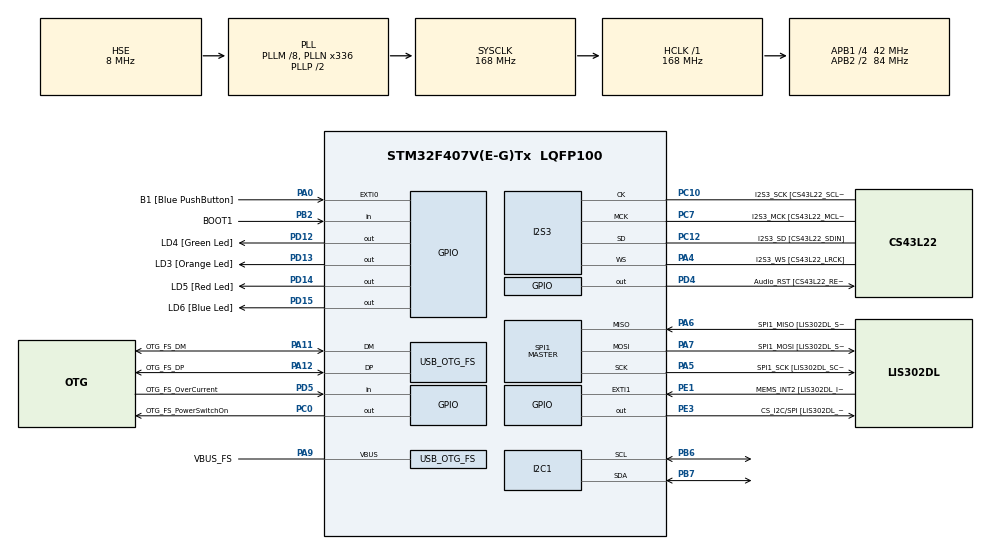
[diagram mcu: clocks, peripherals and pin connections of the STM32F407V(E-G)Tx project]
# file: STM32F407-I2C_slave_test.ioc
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I2C1.I2C_Mode=I2C_Standard
I2C1.NoStretchMode=I2C_NOSTRETCH_DISABLE
I2C1.OwnAddress=0x20
I2S3.AudioFreq-Half_Duplex_Master=I2S_AUDIOFREQ_96K
I2S3.ErrorAudioFreq=-2.34 %
I2S3.ErrorAudioFreq-Half_Duplex_Master=0.8 %
I2S3.FullDuplexMode=I2S_FULLDUPLEXMODE_DISABLE
I2S3.Instance=SPI$Index
I2S3.RealAudioFreq=93.75 KHz
I2S3.RealAudioFreq-Half_Duplex_Master=96.774 KHz
I2S3.VirtualMode=I2S_MODE_MASTER
Mcu.Family=STM32F4
Mcu.Name=STM32F407V(E-G)Tx
Mcu.Package=LQFP100
NVIC.I2C1_ER_IRQn=true\:0\:0\:false\:false\:true\:true\:true
NVIC.I2C1_EV_IRQn=true\:0\:0\:false\:false\:true\:true\:true
NVIC.OTG_FS_IRQn=true\:0\:0\:false\:false\:true\:true\:true
NVIC.PriorityGroup=NVIC_PRIORITYGROUP_0
PA0-WKUP.GPIO_Label=B1 [Blue PushButton]
PA0-WKUP.GPIO_ModeDefaultEXTI=GPIO_MODE_EVT_RISING
PA0-WKUP.GPIO_PuPd=GPIO_NOPULL
PA0-WKUP.Signal=GPXTI0
PA10.GPIO_Label=OTG_FS_ID
PA10.GPIO_Mode=GPIO_MODE_AF_PP
PA10.GPIO_PuPd=GPIO_NOPULL
PA10.GPIO_Speed=GPIO_SPEED_FREQ_LOW
PA10.Signal=USB_OTG_FS_ID
PA11.GPIO_Label=OTG_FS_DM
PA11.GPIO_Mode=GPIO_MODE_AF_PP
PA11.GPIO_PuPd=GPIO_NOPULL
PA11.GPIO_Speed=GPIO_SPEED_FREQ_LOW
PA11.Mode=Host_Only
PA11.Signal=USB_OTG_FS_DM
PA12.GPIO_Label=OTG_FS_DP
PA12.GPIO_Mode=GPIO_MODE_AF_PP
PA12.GPIO_PuPd=GPIO_NOPULL
PA12.GPIO_Speed=GPIO_SPEED_FREQ_LOW
PA12.Mode=Host_Only
PA12.Signal=USB_OTG_FS_DP
PA13.GPIO_Label=SWDIO
PA13.Mode=Serial_Wire
PA13.Signal=SYS_JTMS-SWDIO
PA14.GPIO_Label=SWCLK
PA14.Mode=Serial_Wire
PA14.Signal=SYS_JTCK-SWCLK
PA4.GPIO_Label=I2S3_WS [CS43L22_LRCK]
PA4.GPIO_Mode=GPIO_MODE_AF_PP
PA4.GPIO_PuPd=GPIO_NOPULL
PA4.GPIO_Speed=GPIO_SPEED_FREQ_LOW
PA4.Mode=Half_Duplex_Master
PA4.Signal=I2S3_WS
PA5.GPIO_Label=SPI1_SCK [LIS302DL_SCL/SPC]
PA5.GPIO_Mode=GPIO_MODE_AF_PP
PA5.GPIO_PuPd=GPIO_NOPULL
PA5.GPIO_Speed=GPIO_SPEED_FREQ_LOW
PA5.Mode=Full_Duplex_Master
PA5.Signal=SPI1_SCK
PA6.GPIO_Label=SPI1_MISO [LIS302DL_SDO]
PA6.GPIO_Mode=GPIO_MODE_AF_PP
PA6.GPIO_PuPd=GPIO_NOPULL
PA6.GPIO_Speed=GPIO_SPEED_FREQ_LOW
PA6.Mode=Full_Duplex_Master
PA6.Signal=SPI1_MISO
PA7.GPIO_Label=SPI1_MOSI [LIS302DL_SDA/SDI/SDO]
PA7.GPIO_Mode=GPIO_MODE_AF_PP
PA7.GPIO_PuPd=GPIO_NOPULL
PA7.GPIO_Speed=GPIO_SPEED_FREQ_LOW
PA7.Mode=Full_Duplex_Master
PA7.Signal=SPI1_MOSI
PA9.GPIO_Label=VBUS_FS
PA9.GPIO_Mode=GPIO_MODE_INPUT
PA9.GPIO_PuPd=GPIO_NOPULL
PA9.Mode=Activate_VBUS
PA9.Signal=USB_OTG_FS_VBUS
PB10.GPIO_Label=CLK_IN [MP45DT02_CLK]
PB10.GPIO_Mode=GPIO_MODE_AF_PP
PB10.GPIO_PuPd=GPIO_NOPULL
PB10.GPIO_Speed=GPIO_SPEED_FREQ_LOW
PB10.Signal=I2S2_CK
PB2.GPIO_Label=BOOT1
PB2.GPIO_Mode=GPIO_MODE_INPUT
PB2.GPIO_PuPd=GPIO_NOPULL
PB2.Signal=GPIO_Input
PB3.GPIO_Label=SWO
PB3.Signal=SYS_JTDO-SWO
PB6.Mode=I2C
PB6.Signal=I2C1_SCL
PB7.Mode=I2C
PB7.Signal=I2C1_SDA
PC0.GPIO_Label=OTG_FS_PowerSwitchOn
PC0.GPIO_PuPd=GPIO_NOPULL
PC0.GPIO_Speed=GPIO_SPEED_FREQ_LOW
PC0.PinState=GPIO_PIN_SET
PC0.Signal=GPIO_Output
PC10.GPIO_Label=I2S3_SCK [CS43L22_SCLK]
PC10.GPIO_Mode=GPIO_MODE_AF_PP
PC10.GPIO_PuPd=GPIO_NOPULL
PC10.GPIO_Speed=GPIO_SPEED_FREQ_LOW
PC10.Mode=Half_Duplex_Master
PC10.Signal=I2S3_CK
PC12.GPIO_Label=I2S3_SD [CS43L22_SDIN]
PC12.GPIO_Mode=GPIO_MODE_AF_PP
PC12.GPIO_PuPd=GPIO_NOPULL
PC12.GPIO_Speed=GPIO_SPEED_FREQ_LOW
PC12.Mode=Half_Duplex_Master
PC12.Signal=I2S3_SD
PC14-OSC32_IN.GPIO_Label=PC14-OSC32_IN
PC14-OSC32_IN.Mode=LSE-External-Oscillator
PC14-OSC32_IN.Signal=RCC_OSC32_IN
PC15-OSC32_OUT.GPIO_Label=PC15-OSC32_OUT
PC15-OSC32_OUT.Mode=LSE-External-Oscillator
PC15-OSC32_OUT.Signal=RCC_OSC32_OUT
PC3.GPIO_Label=PDM_OUT [MP45DT02_DOUT]
PC3.GPIO_Mode=GPIO_MODE_AF_PP
PC3.GPIO_PuPd=GPIO_NOPULL
PC3.GPIO_Speed=GPIO_SPEED_FREQ_LOW
PC3.Signal=I2S2_SD
PC7.GPIO_Label=I2S3_MCK [CS43L22_MCLK]
PC7.GPIO_Mode=GPIO_MODE_AF_PP
PC7.GPIO_PuPd=GPIO_NOPULL
PC7.GPIO_Speed=GPIO_SPEED_FREQ_LOW
PC7.Mode=Master_Clock_Activated
PC7.Signal=I2S3_MCK
PD12.GPIO_Label=LD4 [Green Led]
PD12.GPIO_PuPd=GPIO_NOPULL
PD12.GPIO_Speed=GPIO_SPEED_FREQ_LOW
PD12.Signal=GPIO_Output
PD13.GPIO_Label=LD3 [Orange Led]
PD13.GPIO_PuPd=GPIO_NOPULL
PD13.GPIO_Speed=GPIO_SPEED_FREQ_LOW
PD13.Signal=GPIO_Output
PD14.GPIO_Label=LD5 [Red Led]
PD14.GPIO_PuPd=GPIO_NOPULL
PD14.GPIO_Speed=GPIO_SPEED_FREQ_LOW
PD14.Signal=GPIO_Output
PD15.GPIO_Label=LD6 [Blue Led]
PD15.GPIO_PuPd=GPIO_NOPULL
PD15.GPIO_Speed=GPIO_SPEED_FREQ_LOW
PD15.Signal=GPIO_Output
PD4.GPIO_Label=Audio_RST [CS43L22_RESET]
PD4.GPIO_PuPd=GPIO_NOPULL
PD4.GPIO_Speed=GPIO_SPEED_FREQ_LOW
PD4.Signal=GPIO_Output
PD5.GPIO_Label=OTG_FS_OverCurrent
PD5.GPIO_Mode=GPIO_MODE_INPUT
PD5.GPIO_PuPd=GPIO_NOPULL
PD5.Signal=GPIO_Input
PE1.GPIO_Label=MEMS_INT2 [LIS302DL_INT2]
PE1.GPIO_ModeDefaultEXTI=GPIO_MODE_EVT_RISING
PE1.GPIO_PuPd=GPIO_NOPULL
PE1.Signal=GPXTI1
PE3.GPIO_Label=CS_I2C/SPI [LIS302DL_CS_I2C/SPI]
PE3.GPIO_PuPd=GPIO_NOPULL
PE3.GPIO_Speed=GPIO_SPEED_FREQ_LOW
PE3.Signal=GPIO_Output
PH0-OSC_IN.GPIO_Label=PH0-OSC_IN
PH0-OSC_IN.Mode=HSE-External-Oscillator
PH0-OSC_IN.Signal=RCC_OSC_IN
PH1-OSC_OUT.GPIO_Label=PH1-OSC_OUT
PH1-OSC_OUT.Mode=HSE-External-Oscillator
PH1-OSC_OUT.Signal=RCC_OSC_OUT
ProjectManager.HeapSize=0x200
ProjectManager.StackSize=0x400
ProjectManager.TargetToolchain=STM32CubeIDE
RCC.48MHZClocksFreq_Value=48000000
RCC.AHBFreq_Value=168000000
RCC.APB1CLKDivider=RCC_HCLK_DIV4
RCC.APB1Freq_Value=42000000
RCC.APB1TimFreq_Value=84000000
RCC.APB2CLKDivider=RCC_HCLK_DIV2
RCC.APB2Freq_Value=84000000
RCC.APB2TimFreq_Value=168000000
RCC.CortexFreq_Value=168000000
RCC.HCLKFreq_Value=168000000
RCC.HSE_VALUE=8000000
RCC.HSI_VALUE=16000000
RCC.PLLM=8
RCC.PLLN=336
RCC.PLLQ=7
RCC.SYSCLKFreq_VALUE=168000000
RCC.SYSCLKSource=RCC_SYSCLKSOURCE_PLLCLK
RCC.VCOOutputFreq_Value=336000000
SPI1.BaudRatePrescaler-Full_Duplex_Master=SPI_BAUDRATEPRESCALER_2
SPI1.CalculateBaudRate-Full_Duplex_Master=42.0 MBits/s
SPI1.Direction=SPI_DIRECTION_2LINES
SPI1.Mode=SPI_MODE_MASTER
SPI1.Mode-Full_Duplex_Master=SPI_MODE_MASTER
SPI1.VirtualType=VM_MASTER
USB_HOST.BSP.number=1
USB_HOST.USBH_HandleTypeDef-CDC_FS=hUsbHostFS
USB_HOST.VirtualModeFS=Cdc
USB_HOST0.BSP.STBoard=false
USB_HOST0.BSP.api=Unknown
USB_HOST0.BSP.i2caddr=0
USB_HOST0.BSP.i2creg=0
USB_HOST0.BSP.instance=PC0
USB_HOST0.BSP.ip=GPIO
USB_HOST0.BSP.mode=Output
USB_HOST0.BSP.name=Drive_VBUS_FS
USB_HOST0.BSP.solution=PC0
USB_OTG_FS.VirtualMode=Host_Only
USB_OTG_FS.phy_itface=HCD_PHY_EMBEDDED
VP_USB_HOST_VS_USB_HOST_CDC_FS.Mode=CDC_FS
board=STM32F407G-DISC1

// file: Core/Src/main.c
/* USER CODE BEGIN Header */
/**
  ******************************************************************************
  * @file           : main.c
  * @brief          : Main program body
  ******************************************************************************
  * @attention
  *
  * <h2><center>&copy; Copyright (c) 2022 STMicroelectronics.
  * All rights reserved.</center></h2>
  *
  * This software component is licensed by ST under Ultimate Liberty license
  * SLA0044, the "License"; You may not use this file except in compliance with
  * the License. You may obtain a copy of the License at:
  *                             www.st.com/SLA0044
  *
  ******************************************************************************
  */
/* USER CODE END Header */
#include "main.h"
#include "usb_host.h"

/* USER CODE BEGIN PD */
#define DEBUG_MODE 				0x00 // 0x00 = debug, 0xFF = normal operation

#define STM32_SLAVE_ADDRESS		0x20
#define STM32_CMD_CS_HIGH		0x01
#define STM32_CMD_CS_LOW		0x02
#define STM32_CMD_CS_STATUS		0x03
#define STM32_CMD_IRQ_STATUS	0x04
#define STM32_CMD_NEWDEV_OK		0x05

/* USER CODE END PD */

I2C_HandleTypeDef hi2c1;

I2S_HandleTypeDef hi2s3;

SPI_HandleTypeDef hspi1;

/* USER CODE BEGIN PV */
uint8_t I2C_DATA_BUFFER[1];
uint8_t CS_STATUS = 0xFF; //CS high (0xFF) => DW3220 SPI OFF | CS low (0x00) => DW3220 SPI ON
uint8_t IRQ_STATUS = 0x00; //IRQ low (0x00) => no DW3220 IRQ | IRQ high (0xFF) => DW3220 IRQ
uint8_t NEWDEV_STATUS = 0xFF; //NEWDEV high (0xFF) => board just started up and requests I2C confirmation by host
/* USER CODE END PV */

void SystemClock_Config(void);
static void MX_GPIO_Init(void);
static void MX_I2C1_Init(void);
static void MX_I2S3_Init(void);
static void MX_SPI1_Init(void);
void MX_USB_HOST_Process(void);

/* USER CODE BEGIN PFP */
void HAL_I2C_AddrCallback(I2C_HandleTypeDef *hi2c, uint8_t TransferDirection, uint16_t AddrMatchCode){
	HAL_GPIO_TogglePin(LD3_GPIO_Port, LD3_Pin);
}

void HAL_I2C_SlaveRxCpltCallback(I2C_HandleTypeDef *hi2c){
	if(I2C_DATA_BUFFER[0] == STM32_CMD_CS_HIGH){
		// Toggle CS HIGH => DW3220 SPI OFF
		HAL_GPIO_TogglePin(LD4_GPIO_Port, LD4_Pin);

		// Set CS_STATUS HIGH
		CS_STATUS = 0xFF;

		// Issue new receive interrupt
		if(HAL_I2C_Slave_Receive_IT(&hi2c1, &I2C_DATA_BUFFER, sizeof(I2C_DATA_BUFFER)) != HAL_OK){
			 asm("bkpt 255");
		}
	}
	else if(I2C_DATA_BUFFER[0] == STM32_CMD_CS_LOW){
		// Toggle CS LOW => DW3220 SPI ON
		HAL_GPIO_TogglePin(LD3_GPIO_Port, LD3_Pin);

		// Set CS_STATUS LOW
		CS_STATUS = 0x00;

		// Issue new receive interrupt
		if(HAL_I2C_Slave_Receive_IT(&hi2c1, &I2C_DATA_BUFFER, sizeof(I2C_DATA_BUFFER)) != HAL_OK){
			 asm("bkpt 255");
		}
	}
	else if(I2C_DATA_BUFFER[0] == STM32_CMD_CS_STATUS){
		I2C_DATA_BUFFER[0] = CS_STATUS;
		// Reply MASTER with CS_STATUS
		HAL_I2C_Slave_Transmit_IT(&hi2c1, &I2C_DATA_BUFFER, 1);

		// Don't issue new receive interrupt yet!
	}
	else if(I2C_DATA_BUFFER[0] == STM32_CMD_IRQ_STATUS){
		// Reply MASTER with IRQ_STATUS
		HAL_I2C_Slave_Transmit_IT(&hi2c1, IRQ_STATUS, 1);

		// Don't issue new receive interrupt yet!
	}

	else if(I2C_DATA_BUFFER[0] == STM32_CMD_NEWDEV_OK){
		// Set LED1 OFF => NEWDEV = low
		HAL_GPIO_TogglePin(LD4_GPIO_Port, LD4_Pin);

		NEWDEV_STATUS = 0x00;

		// Issue new receive interrupt
		if(HAL_I2C_Slave_Receive_IT(&hi2c1, &I2C_DATA_BUFFER, sizeof(I2C_DATA_BUFFER)) != HAL_OK){
			 asm("bkpt 255");
		}
	}
}

void HAL_I2C_SlaveTxCpltCallback(I2C_HandleTypeDef *hi2c){
	// Issue new receive interrupt after replying MASTER from a write
	if(HAL_I2C_Slave_Receive_IT(&hi2c1, &I2C_DATA_BUFFER, sizeof(I2C_DATA_BUFFER)) != HAL_OK){
	  	asm("bkpt 255");
	  }
}

void HAL_I2C_ListenCpltCallback(I2C_HandleTypeDef *hi2c) {
	HAL_I2C_EnableListen_IT(hi2c); // Restart
}

void HAL_I2C_ErrorCallback(I2C_HandleTypeDef *hi2c) {
	if (HAL_I2C_GetError(hi2c) != HAL_I2C_ERROR_AF) {
		asm("nop");
	}
}
/* USER CODE END PFP */

int main(void)
{

  /* MCU Configuration--------------------------------------------------------*/

  /* Reset of all peripherals, Initializes the Flash interface and the Systick. */
  HAL_Init();

  /* Configure the system clock */
  SystemClock_Config();

  /* Initialize all configured peripherals */
  MX_GPIO_Init();
  MX_I2C1_Init();
  MX_I2S3_Init();
  MX_SPI1_Init();
  MX_USB_HOST_Init();
  /* USER CODE BEGIN 2 */

  HAL_GPIO_WritePin(LD3_GPIO_Port, LD3_Pin, GPIO_PIN_RESET);
  HAL_GPIO_WritePin(LD4_GPIO_Port, LD4_Pin, GPIO_PIN_RESET);

  if(HAL_I2C_Slave_Receive_IT(&hi2c1, &I2C_DATA_BUFFER, sizeof(I2C_DATA_BUFFER)) != HAL_OK){
  	asm("bkpt 255");
  }

  /* USER CODE END 2 */

  /* Infinite loop */
  while (1)
  {
    MX_USB_HOST_Process();

  }
}

void SystemClock_Config(void)
{
  RCC_OscInitTypeDef RCC_OscInitStruct = {0};
  RCC_ClkInitTypeDef RCC_ClkInitStruct = {0};
  RCC_PeriphCLKInitTypeDef PeriphClkInitStruct = {0};

  /** Configure the main internal regulator output voltage
  */
  __HAL_RCC_PWR_CLK_ENABLE();
  __HAL_PWR_VOLTAGESCALING_CONFIG(PWR_REGULATOR_VOLTAGE_SCALE1);
  /** Initializes the RCC Oscillators according to the specified parameters
  * in the RCC_OscInitTypeDef structure.
  */
  RCC_OscInitStruct.OscillatorType = RCC_OSCILLATORTYPE_HSE;
  RCC_OscInitStruct.HSEState = RCC_HSE_ON;
  RCC_OscInitStruct.PLL.PLLState = RCC_PLL_ON;
  RCC_OscInitStruct.PLL.PLLSource = RCC_PLLSOURCE_HSE;
  RCC_OscInitStruct.PLL.PLLM = 8;
  RCC_OscInitStruct.PLL.PLLN = 336;
  RCC_OscInitStruct.PLL.PLLP = RCC_PLLP_DIV2;
  RCC_OscInitStruct.PLL.PLLQ = 7;
  if (HAL_RCC_OscConfig(&RCC_OscInitStruct) != HAL_OK)
  {
    Error_Handler();
  }
  /** Initializes the CPU, AHB and APB buses clocks
  */
  RCC_ClkInitStruct.ClockType = RCC_CLOCKTYPE_HCLK|RCC_CLOCKTYPE_SYSCLK
                              |RCC_CLOCKTYPE_PCLK1|RCC_CLOCKTYPE_PCLK2;
  RCC_ClkInitStruct.SYSCLKSource = RCC_SYSCLKSOURCE_PLLCLK;
  RCC_ClkInitStruct.AHBCLKDivider = RCC_SYSCLK_DIV1;
  RCC_ClkInitStruct.APB1CLKDivider = RCC_HCLK_DIV4;
  RCC_ClkInitStruct.APB2CLKDivider = RCC_HCLK_DIV2;

  if (HAL_RCC_ClockConfig(&RCC_ClkInitStruct, FLASH_LATENCY_5) != HAL_OK)
  {
    Error_Handler();
  }
  PeriphClkInitStruct.PeriphClockSelection = RCC_PERIPHCLK_I2S;
  PeriphClkInitStruct.PLLI2S.PLLI2SN = 192;
  PeriphClkInitStruct.PLLI2S.PLLI2SR = 2;
  if (HAL_RCCEx_PeriphCLKConfig(&PeriphClkInitStruct) != HAL_OK)
  {
    Error_Handler();
  }
}

static void MX_I2C1_Init(void)
{

  hi2c1.Instance = I2C1;
  hi2c1.Init.ClockSpeed = 100000;
  hi2c1.Init.DutyCycle = I2C_DUTYCYCLE_2;
  hi2c1.Init.OwnAddress1 = 64;
  hi2c1.Init.AddressingMode = I2C_ADDRESSINGMODE_7BIT;
  hi2c1.Init.DualAddressMode = I2C_DUALADDRESS_DISABLE;
  hi2c1.Init.OwnAddress2 = 0;
  hi2c1.Init.GeneralCallMode = I2C_GENERALCALL_DISABLE;
  hi2c1.Init.NoStretchMode = I2C_NOSTRETCH_DISABLE;
  if (HAL_I2C_Init(&hi2c1) != HAL_OK)
  {
    Error_Handler();
  }

}

static void MX_I2S3_Init(void)
{

  hi2s3.Instance = SPI3;
  hi2s3.Init.Mode = I2S_MODE_MASTER_TX;
  hi2s3.Init.Standard = I2S_STANDARD_PHILIPS;
  hi2s3.Init.DataFormat = I2S_DATAFORMAT_16B;
  hi2s3.Init.MCLKOutput = I2S_MCLKOUTPUT_ENABLE;
  hi2s3.Init.AudioFreq = I2S_AUDIOFREQ_96K;
  hi2s3.Init.CPOL = I2S_CPOL_LOW;
  hi2s3.Init.ClockSource = I2S_CLOCK_PLL;
  hi2s3.Init.FullDuplexMode = I2S_FULLDUPLEXMODE_DISABLE;
  if (HAL_I2S_Init(&hi2s3) != HAL_OK)
  {
    Error_Handler();
  }

}

static void MX_SPI1_Init(void)
{

  /* SPI1 parameter configuration*/
  hspi1.Instance = SPI1;
  hspi1.Init.Mode = SPI_MODE_MASTER;
  hspi1.Init.Direction = SPI_DIRECTION_2LINES;
  hspi1.Init.DataSize = SPI_DATASIZE_8BIT;
  hspi1.Init.CLKPolarity = SPI_POLARITY_LOW;
  hspi1.Init.CLKPhase = SPI_PHASE_1EDGE;
  hspi1.Init.NSS = SPI_NSS_SOFT;
  hspi1.Init.BaudRatePrescaler = SPI_BAUDRATEPRESCALER_2;
  hspi1.Init.FirstBit = SPI_FIRSTBIT_MSB;
  hspi1.Init.TIMode = SPI_TIMODE_DISABLE;
  hspi1.Init.CRCCalculation = SPI_CRCCALCULATION_DISABLE;
  hspi1.Init.CRCPolynomial = 10;
  if (HAL_SPI_Init(&hspi1) != HAL_OK)
  {
    Error_Handler();
  }

}

static void MX_GPIO_Init(void)
{
  GPIO_InitTypeDef GPIO_InitStruct = {0};

  /* GPIO Ports Clock Enable */
  __HAL_RCC_GPIOE_CLK_ENABLE();
  __HAL_RCC_GPIOC_CLK_ENABLE();
  __HAL_RCC_GPIOH_CLK_ENABLE();
  __HAL_RCC_GPIOA_CLK_ENABLE();
  __HAL_RCC_GPIOB_CLK_ENABLE();
  __HAL_RCC_GPIOD_CLK_ENABLE();

  /*Configure GPIO pin Output Level */
  HAL_GPIO_WritePin(CS_I2C_SPI_GPIO_Port, CS_I2C_SPI_Pin, GPIO_PIN_RESET);

  /*Configure GPIO pin Output Level */
  HAL_GPIO_WritePin(OTG_FS_PowerSwitchOn_GPIO_Port, OTG_FS_PowerSwitchOn_Pin, GPIO_PIN_SET);

  /*Configure GPIO pin Output Level */
  HAL_GPIO_WritePin(GPIOD, LD4_Pin|LD3_Pin|LD5_Pin|LD6_Pin
                          |Audio_RST_Pin, GPIO_PIN_RESET);

  /*Configure GPIO pin : CS_I2C_SPI_Pin */
  GPIO_InitStruct.Pin = CS_I2C_SPI_Pin;
  GPIO_InitStruct.Mode = GPIO_MODE_OUTPUT_PP;
  GPIO_InitStruct.Pull = GPIO_NOPULL;
  GPIO_InitStruct.Speed = GPIO_SPEED_FREQ_LOW;
  HAL_GPIO_Init(CS_I2C_SPI_GPIO_Port, &GPIO_InitStruct);

  /*Configure GPIO pin : OTG_FS_PowerSwitchOn_Pin */
  GPIO_InitStruct.Pin = OTG_FS_PowerSwitchOn_Pin;
  GPIO_InitStruct.Mode = GPIO_MODE_OUTPUT_PP;
  GPIO_InitStruct.Pull = GPIO_NOPULL;
  GPIO_InitStruct.Speed = GPIO_SPEED_FREQ_LOW;
  HAL_GPIO_Init(OTG_FS_PowerSwitchOn_GPIO_Port, &GPIO_InitStruct);

  /*Configure GPIO pin : PDM_OUT_Pin */
  GPIO_InitStruct.Pin = PDM_OUT_Pin;
  GPIO_InitStruct.Mode = GPIO_MODE_AF_PP;
  GPIO_InitStruct.Pull = GPIO_NOPULL;
  GPIO_InitStruct.Speed = GPIO_SPEED_FREQ_LOW;
  GPIO_InitStruct.Alternate = GPIO_AF5_SPI2;
  HAL_GPIO_Init(PDM_OUT_GPIO_Port, &GPIO_InitStruct);

  /*Configure GPIO pin : B1_Pin */
  GPIO_InitStruct.Pin = B1_Pin;
  GPIO_InitStruct.Mode = GPIO_MODE_EVT_RISING;
  GPIO_InitStruct.Pull = GPIO_NOPULL;
  HAL_GPIO_Init(B1_GPIO_Port, &GPIO_InitStruct);

  /*Configure GPIO pin : BOOT1_Pin */
  GPIO_InitStruct.Pin = BOOT1_Pin;
  GPIO_InitStruct.Mode = GPIO_MODE_INPUT;
  GPIO_InitStruct.Pull = GPIO_NOPULL;
  HAL_GPIO_Init(BOOT1_GPIO_Port, &GPIO_InitStruct);

  /*Configure GPIO pin : CLK_IN_Pin */
  GPIO_InitStruct.Pin = CLK_IN_Pin;
  GPIO_InitStruct.Mode = GPIO_MODE_AF_PP;
  GPIO_InitStruct.Pull = GPIO_NOPULL;
  GPIO_InitStruct.Speed = GPIO_SPEED_FREQ_LOW;
  GPIO_InitStruct.Alternate = GPIO_AF5_SPI2;
  HAL_GPIO_Init(CLK_IN_GPIO_Port, &GPIO_InitStruct);

  /*Configure GPIO pins : LD4_Pin LD3_Pin LD5_Pin LD6_Pin
                           Audio_RST_Pin */
  GPIO_InitStruct.Pin = LD4_Pin|LD3_Pin|LD5_Pin|LD6_Pin
                          |Audio_RST_Pin;
  GPIO_InitStruct.Mode = GPIO_MODE_OUTPUT_PP;
  GPIO_InitStruct.Pull = GPIO_NOPULL;
  GPIO_InitStruct.Speed = GPIO_SPEED_FREQ_LOW;
  HAL_GPIO_Init(GPIOD, &GPIO_InitStruct);

  /*Configure GPIO pin : OTG_FS_OverCurrent_Pin */
  GPIO_InitStruct.Pin = OTG_FS_OverCurrent_Pin;
  GPIO_InitStruct.Mode = GPIO_MODE_INPUT;
  GPIO_InitStruct.Pull = GPIO_NOPULL;
  HAL_GPIO_Init(OTG_FS_OverCurrent_GPIO_Port, &GPIO_InitStruct);

  /*Configure GPIO pin : MEMS_INT2_Pin */
  GPIO_InitStruct.Pin = MEMS_INT2_Pin;
  GPIO_InitStruct.Mode = GPIO_MODE_EVT_RISING;
  GPIO_InitStruct.Pull = GPIO_NOPULL;
  HAL_GPIO_Init(MEMS_INT2_GPIO_Port, &GPIO_InitStruct);

}

void Error_Handler(void)
{
  __disable_irq();
  while (1)
  {
  }
}

/************************ (C) COPYRIGHT STMicroelectronics *****END OF FILE****/
